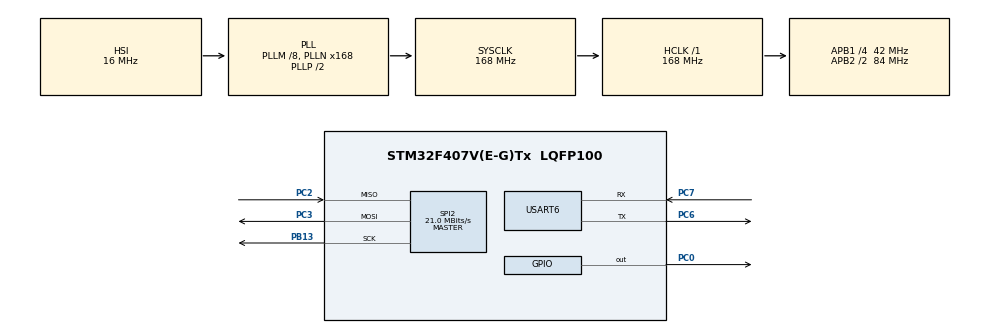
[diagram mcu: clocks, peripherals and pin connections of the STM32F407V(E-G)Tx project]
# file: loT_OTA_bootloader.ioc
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Mcu.Family=STM32F4
Mcu.Name=STM32F407V(E-G)Tx
Mcu.Package=LQFP100
NVIC.PriorityGroup=NVIC_PRIORITYGROUP_4
PB13.Mode=Full_Duplex_Master
PB13.Signal=SPI2_SCK
PC0.Signal=GPIO_Output
PC2.Mode=Full_Duplex_Master
PC2.Signal=SPI2_MISO
PC3.Mode=Full_Duplex_Master
PC3.Signal=SPI2_MOSI
PC6.Mode=Asynchronous
PC6.Signal=USART6_TX
PC7.Mode=Asynchronous
PC7.Signal=USART6_RX
ProjectManager.HeapSize=0x200
ProjectManager.StackSize=0x400
ProjectManager.TargetToolchain=MDK-ARM V5
RCC.48MHZClocksFreq_Value=84000000
RCC.AHBFreq_Value=168000000
RCC.APB1CLKDivider=RCC_HCLK_DIV4
RCC.APB1Freq_Value=42000000
RCC.APB1TimFreq_Value=84000000
RCC.APB2CLKDivider=RCC_HCLK_DIV2
RCC.APB2Freq_Value=84000000
RCC.APB2TimFreq_Value=168000000
RCC.CortexFreq_Value=168000000
RCC.HCLKFreq_Value=168000000
RCC.HSE_VALUE=25000000
RCC.HSI_VALUE=16000000
RCC.LSE_VALUE=32768
RCC.PLLM=8
RCC.PLLN=168
RCC.SYSCLKFreq_VALUE=168000000
RCC.SYSCLKSource=RCC_SYSCLKSOURCE_PLLCLK
RCC.VCOOutputFreq_Value=336000000
SPI2.CalculateBaudRate=21.0 MBits/s
SPI2.Direction=SPI_DIRECTION_2LINES
SPI2.Mode=SPI_MODE_MASTER
SPI2.VirtualType=VM_MASTER
USART6.VirtualMode=VM_ASYNC
board=custom

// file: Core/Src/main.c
/* USER CODE BEGIN Header */
/**
  ******************************************************************************
  * @file           : main.c
  * @brief          : Main program body
  ******************************************************************************
  * @attention
  *
  * Copyright (c) 2026 STMicroelectronics.
  * All rights reserved.
  *
  * This software is licensed under terms that can be found in the LICENSE file
  * in the root directory of this software component.
  * If no LICENSE file comes with this software, it is provided AS-IS.
  *
  ******************************************************************************
  */
/* USER CODE END Header */
#include "main.h"
#include "spi.h"
#include "usart.h"
#include "gpio.h"

/* USER CODE BEGIN Includes */
#include "myuart.h"
#include "W25Q64.h"
#include "bootloader.h"
/* USER CODE END Includes */

/* USER CODE BEGIN PD */

#define APP_HEAD_ADDRESS 	0x08020000
#define APP_EP_ADDRESS 		0x08020200

/* USER CODE END PD */

void SystemClock_Config(void);

int main(void)
{

  /* MCU Configuration--------------------------------------------------------*/

  /* Reset of all peripherals, Initializes the Flash interface and the Systick. */
  HAL_Init();

  /* Configure the system clock */
  SystemClock_Config();

  /* Initialize all configured peripherals */
  MX_GPIO_Init();
  MX_USART6_UART_Init();
  MX_SPI2_Init();
  /* USER CODE BEGIN 2 */
	put_str("bootloader\r\n");
	uint32_t boot_flag=bootloader_init(&W25QHandle_t);
	/* prepare to upgrade */
	switch(boot_flag)
	{
		case BOOT_FLAG_NEED_UPDATE:
		{
			Relocate_Internal_To_Backup(APP_HEAD_ADDRESS,OTA_HAED_LENGTH);
		}
		case BOOT_FLAG_UPDATEING:
		{
			Relocate_NewApp_To_Internal(APP_HEAD_ADDRESS,OTA_HAED_LENGTH);
			OTA_Jump_TO_Normal_APP(APP_EP_ADDRESS);
			break;
		}
		case BOOT_FLAG_TESTING:
		{
			OTA_Jump_TO_BACK_APP(APP_HEAD_ADDRESS,OTA_HAED_LENGTH);
			break;
		}
		default:
		{
			OTA_Jump_TO_Normal_APP(APP_EP_ADDRESS);
		}
	}
  /* USER CODE END 2 */

  /* Infinite loop */
  while (1)
  {

  }
}

void SystemClock_Config(void)
{
  RCC_OscInitTypeDef RCC_OscInitStruct = {0};
  RCC_ClkInitTypeDef RCC_ClkInitStruct = {0};

  /** Configure the main internal regulator output voltage
  */
  __HAL_RCC_PWR_CLK_ENABLE();
  __HAL_PWR_VOLTAGESCALING_CONFIG(PWR_REGULATOR_VOLTAGE_SCALE1);

  /** Initializes the RCC Oscillators according to the specified parameters
  * in the RCC_OscInitTypeDef structure.
  */
  RCC_OscInitStruct.OscillatorType = RCC_OSCILLATORTYPE_HSI;
  RCC_OscInitStruct.HSIState = RCC_HSI_ON;
  RCC_OscInitStruct.HSICalibrationValue = RCC_HSICALIBRATION_DEFAULT;
  RCC_OscInitStruct.PLL.PLLState = RCC_PLL_ON;
  RCC_OscInitStruct.PLL.PLLSource = RCC_PLLSOURCE_HSI;
  RCC_OscInitStruct.PLL.PLLM = 8;
  RCC_OscInitStruct.PLL.PLLN = 168;
  RCC_OscInitStruct.PLL.PLLP = RCC_PLLP_DIV2;
  RCC_OscInitStruct.PLL.PLLQ = 4;
  if (HAL_RCC_OscConfig(&RCC_OscInitStruct) != HAL_OK)
  {
    Error_Handler();
  }

  /** Initializes the CPU, AHB and APB buses clocks
  */
  RCC_ClkInitStruct.ClockType = RCC_CLOCKTYPE_HCLK|RCC_CLOCKTYPE_SYSCLK
                              |RCC_CLOCKTYPE_PCLK1|RCC_CLOCKTYPE_PCLK2;
  RCC_ClkInitStruct.SYSCLKSource = RCC_SYSCLKSOURCE_PLLCLK;
  RCC_ClkInitStruct.AHBCLKDivider = RCC_SYSCLK_DIV1;
  RCC_ClkInitStruct.APB1CLKDivider = RCC_HCLK_DIV4;
  RCC_ClkInitStruct.APB2CLKDivider = RCC_HCLK_DIV2;

  if (HAL_RCC_ClockConfig(&RCC_ClkInitStruct, FLASH_LATENCY_5) != HAL_OK)
  {
    Error_Handler();
  }
}

void Error_Handler(void)
{
  __disable_irq();
  while (1)
  {
  }
}
